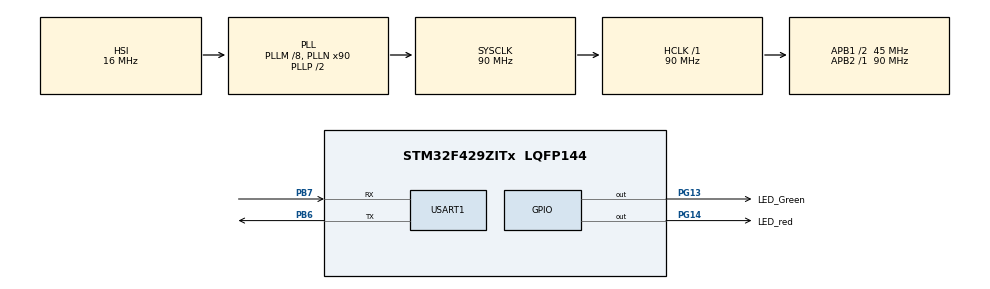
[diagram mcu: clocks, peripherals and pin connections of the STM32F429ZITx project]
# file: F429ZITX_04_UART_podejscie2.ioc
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Mcu.Family=STM32F4
Mcu.Name=STM32F429ZITx
Mcu.Package=LQFP144
NVIC.PriorityGroup=NVIC_PRIORITYGROUP_4
NVIC.TIM1_TRG_COM_TIM11_IRQn=true\:0\:0\:false\:false\:true\:true
NVIC.TIM1_UP_TIM10_IRQn=true\:0\:0\:false\:false\:true\:true
NVIC.USART1_IRQn=true\:0\:0\:false\:false\:true\:true
PB6.Mode=Asynchronous
PB6.Signal=USART1_TX
PB7.Mode=Asynchronous
PB7.Signal=USART1_RX
PG13.GPIO_Label=LED_Green
PG13.Signal=GPIO_Output
PG14.GPIO_Label=LED_red
PG14.Signal=GPIO_Output
PH0/OSC_IN.Mode=HSE-External-Oscillator
PH0/OSC_IN.Signal=RCC_OSC_IN
PH1/OSC_OUT.Mode=HSE-External-Oscillator
PH1/OSC_OUT.Signal=RCC_OSC_OUT
ProjectManager.HeapSize=0x200
ProjectManager.StackSize=0x400
ProjectManager.TargetToolchain=TrueSTUDIO
RCC.48MHZClocksFreq_Value=45000000
RCC.AHBFreq_Value=90000000
RCC.APB1CLKDivider=RCC_HCLK_DIV2
RCC.APB1Freq_Value=45000000
RCC.APB1TimFreq_Value=90000000
RCC.APB2Freq_Value=90000000
RCC.APB2TimFreq_Value=90000000
RCC.CortexFreq_Value=90000000
RCC.HCLKFreq_Value=90000000
RCC.HSE_VALUE=8000000
RCC.HSI_VALUE=16000000
RCC.LSE_VALUE=32768
RCC.PLLM=8
RCC.PLLN=90
RCC.SYSCLKFreq_VALUE=90000000
RCC.SYSCLKSource=RCC_SYSCLKSOURCE_PLLCLK
RCC.VCOOutputFreq_Value=180000000
TIM10.Period=8999
TIM10.Prescaler=9999
TIM11.Period=2249
TIM11.Prescaler=9999
USART1.VirtualMode=VM_ASYNC
VP_TIM10_VS_ClockSourceINT.Mode=Enable_Timer
VP_TIM11_VS_ClockSourceINT.Mode=Enable_Timer
board=F429ZITX_04_UART_podejscie2

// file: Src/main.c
/**
  ******************************************************************************
  * @file           : main.c
  * @brief          : Main program body
  ******************************************************************************
  ** This notice applies to any and all portions of this file
  * that are not between comment pairs USER CODE BEGIN and
  * USER CODE END. Other portions of this file, whether
  * inserted by the user or by software development tools
  * are owned by their respective copyright owners.
  *
  * COPYRIGHT(c) 2018 STMicroelectronics
  *
  * Redistribution and use in source and binary forms, with or without modification,
  * are permitted provided that the following conditions are met:
  *   1. Redistributions of source code must retain the above copyright notice,
  *      this list of conditions and the following disclaimer.
  *   2. Redistributions in binary form must reproduce the above copyright notice,
  *      this list of conditions and the following disclaimer in the documentation
  *      and/or other materials provided with the distribution.
  *   3. Neither the name of STMicroelectronics nor the names of its contributors
  *      may be used to endorse or promote products derived from this software
  *      without specific prior written permission.
  *
  * THIS SOFTWARE IS PROVIDED BY THE COPYRIGHT HOLDERS AND CONTRIBUTORS "AS IS"
  * AND ANY EXPRESS OR IMPLIED WARRANTIES, INCLUDING, BUT NOT LIMITED TO, THE
  * IMPLIED WARRANTIES OF MERCHANTABILITY AND FITNESS FOR A PARTICULAR PURPOSE ARE
  * DISCLAIMED. IN NO EVENT SHALL THE COPYRIGHT HOLDER OR CONTRIBUTORS BE LIABLE
  * FOR ANY DIRECT, INDIRECT, INCIDENTAL, SPECIAL, EXEMPLARY, OR CONSEQUENTIAL
  * DAMAGES (INCLUDING, BUT NOT LIMITED TO, PROCUREMENT OF SUBSTITUTE GOODS OR
  * SERVICES; LOSS OF USE, DATA, OR PROFITS; OR BUSINESS INTERRUPTION) HOWEVER
  * CAUSED AND ON ANY THEORY OF LIABILITY, WHETHER IN CONTRACT, STRICT LIABILITY,
  * OR TORT (INCLUDING NEGLIGENCE OR OTHERWISE) ARISING IN ANY WAY OUT OF THE USE
  * OF THIS SOFTWARE, EVEN IF ADVISED OF THE POSSIBILITY OF SUCH DAMAGE.
  *
  ******************************************************************************
  */
#include "main.h"
#include "stm32f4xx_hal.h"

TIM_HandleTypeDef htim10;
TIM_HandleTypeDef htim11;

UART_HandleTypeDef huart1;

/* USER CODE BEGIN PV */
/* Private variables ---------------------------------------------------------*/
uint8_t Received;
/* USER CODE END PV */

void SystemClock_Config(void);
static void MX_GPIO_Init(void);
static void MX_TIM10_Init(void);
static void MX_TIM11_Init(void);
static void MX_USART1_UART_Init(void);

/* USER CODE BEGIN PFP */
/* Private function prototypes -----------------------------------------------*/
void HAL_TIM_PeriodElapsedCallback(TIM_HandleTypeDef *htim) {

 static uint16_t cnt = 0; // Licznik wyslanych wiadomosci
 uint8_t data[50];// Tablica przechowujaca wysylana wiadomosc.
 uint16_t size = 0; // Rozmiar wysylanej wiadomosci ++cnt; // Zwiekszenie licznika wyslanych wiadomosci.

 ++cnt; // Zwiekszenie licznika wyslanych wiadomosci.
 size = sprintf(data, "Liczba wyslanych wiadomosci: %d.\n\r", cnt); // Stworzenie wiadomosci do wyslania oraz przypisanie ilosci wysylanych znakow do zmiennej size.
 HAL_UART_Transmit_IT(&huart1, data, size); // Rozpoczecie nadawania danych z wykorzystaniem przerwan
 HAL_GPIO_TogglePin(LED_Green_GPIO_Port, LED_Green_Pin); // Zmiana stanu pinu na diodzie LED
}

void HAL_UART_RxCpltCallback(UART_HandleTypeDef *huart) {

 uint8_t Data[50]; // Tablica przechowujaca wysylana wiadomosc.
 uint16_t size = 0; // Rozmiar wysylanej wiadomosci

 // Odebrany znak zostaje przekonwertowany na liczbe calkowita i sprawdzony
 // instrukcja warunkowa
 switch (atoi(&Received)) {

 case 0: // Jezeli odebrany zostanie znak 0
 size = sprintf(Data, "STOP\n\r");
 HAL_GPIO_WritePin(LED_Green_GPIO_Port, LED_Green_Pin, GPIO_PIN_RESET);
 break;

 case 1: // Jezeli odebrany zostanie znak 1
 size = sprintf(Data, "START\n\r");
 HAL_GPIO_WritePin(LED_Green_GPIO_Port, LED_Green_Pin, GPIO_PIN_SET);
 break;

 default: // Jezeli odebrano nieobslugiwany znak
 size = sprintf(Data, "Odebrano nieznany znak: %c\n\r", Received);
 break;
 }

 HAL_UART_Transmit_IT(&huart1, Data, size); // Rozpoczecie nadawania danych z wykorzystaniem przerwan
 HAL_UART_Receive_IT(&huart1, &Received, 1); // Ponowne w³¹czenie nas³uchiwania
}

/* USER CODE END PFP */

int main(void)
{

  /* MCU Configuration----------------------------------------------------------*/

  /* Reset of all peripherals, Initializes the Flash interface and the Systick. */
  HAL_Init();

  /* Configure the system clock */
  SystemClock_Config();

  /* Initialize all configured peripherals */
  MX_GPIO_Init();
  MX_TIM10_Init();
  MX_TIM11_Init();
  MX_USART1_UART_Init();
  /* USER CODE BEGIN 2 */
  HAL_TIM_Base_Start_IT(&htim11);
  HAL_UART_Receive_IT(&huart1, &Received, 1);
  /* USER CODE END 2 */

  /* Infinite loop */
  while (1)
  {

  }

}

void SystemClock_Config(void)
{

  RCC_OscInitTypeDef RCC_OscInitStruct;
  RCC_ClkInitTypeDef RCC_ClkInitStruct;

    /**Configure the main internal regulator output voltage
    */
  __HAL_RCC_PWR_CLK_ENABLE();

  __HAL_PWR_VOLTAGESCALING_CONFIG(PWR_REGULATOR_VOLTAGE_SCALE3);

    /**Initializes the CPU, AHB and APB busses clocks
    */
  RCC_OscInitStruct.OscillatorType = RCC_OSCILLATORTYPE_HSI;
  RCC_OscInitStruct.HSIState = RCC_HSI_ON;
  RCC_OscInitStruct.HSICalibrationValue = 16;
  RCC_OscInitStruct.PLL.PLLState = RCC_PLL_ON;
  RCC_OscInitStruct.PLL.PLLSource = RCC_PLLSOURCE_HSI;
  RCC_OscInitStruct.PLL.PLLM = 8;
  RCC_OscInitStruct.PLL.PLLN = 90;
  RCC_OscInitStruct.PLL.PLLP = RCC_PLLP_DIV2;
  RCC_OscInitStruct.PLL.PLLQ = 4;
  if (HAL_RCC_OscConfig(&RCC_OscInitStruct) != HAL_OK)
  {
    _Error_Handler(__FILE__, __LINE__);
  }

    /**Activate the Over-Drive mode
    */
  if (HAL_PWREx_EnableOverDrive() != HAL_OK)
  {
    _Error_Handler(__FILE__, __LINE__);
  }

    /**Initializes the CPU, AHB and APB busses clocks
    */
  RCC_ClkInitStruct.ClockType = RCC_CLOCKTYPE_HCLK|RCC_CLOCKTYPE_SYSCLK
                              |RCC_CLOCKTYPE_PCLK1|RCC_CLOCKTYPE_PCLK2;
  RCC_ClkInitStruct.SYSCLKSource = RCC_SYSCLKSOURCE_PLLCLK;
  RCC_ClkInitStruct.AHBCLKDivider = RCC_SYSCLK_DIV1;
  RCC_ClkInitStruct.APB1CLKDivider = RCC_HCLK_DIV2;
  RCC_ClkInitStruct.APB2CLKDivider = RCC_HCLK_DIV1;

  if (HAL_RCC_ClockConfig(&RCC_ClkInitStruct, FLASH_LATENCY_2) != HAL_OK)
  {
    _Error_Handler(__FILE__, __LINE__);
  }

    /**Configure the Systick interrupt time
    */
  HAL_SYSTICK_Config(HAL_RCC_GetHCLKFreq()/1000);

    /**Configure the Systick
    */
  HAL_SYSTICK_CLKSourceConfig(SYSTICK_CLKSOURCE_HCLK);

  /* SysTick_IRQn interrupt configuration */
  HAL_NVIC_SetPriority(SysTick_IRQn, 0, 0);
}

/* TIM10 init function */
static void MX_TIM10_Init(void)
{

  htim10.Instance = TIM10;
  htim10.Init.Prescaler = 9999;
  htim10.Init.CounterMode = TIM_COUNTERMODE_UP;
  htim10.Init.Period = 8999;
  htim10.Init.ClockDivision = TIM_CLOCKDIVISION_DIV1;
  if (HAL_TIM_Base_Init(&htim10) != HAL_OK)
  {
    _Error_Handler(__FILE__, __LINE__);
  }

}

/* TIM11 init function */
static void MX_TIM11_Init(void)
{

  htim11.Instance = TIM11;
  htim11.Init.Prescaler = 9999;
  htim11.Init.CounterMode = TIM_COUNTERMODE_UP;
  htim11.Init.Period = 2249;
  htim11.Init.ClockDivision = TIM_CLOCKDIVISION_DIV1;
  if (HAL_TIM_Base_Init(&htim11) != HAL_OK)
  {
    _Error_Handler(__FILE__, __LINE__);
  }

}

/* USART1 init function */
static void MX_USART1_UART_Init(void)
{

  huart1.Instance = USART1;
  huart1.Init.BaudRate = 115200;
  huart1.Init.WordLength = UART_WORDLENGTH_8B;
  huart1.Init.StopBits = UART_STOPBITS_1;
  huart1.Init.Parity = UART_PARITY_NONE;
  huart1.Init.Mode = UART_MODE_TX_RX;
  huart1.Init.HwFlowCtl = UART_HWCONTROL_NONE;
  huart1.Init.OverSampling = UART_OVERSAMPLING_16;
  if (HAL_UART_Init(&huart1) != HAL_OK)
  {
    _Error_Handler(__FILE__, __LINE__);
  }

}

/** Configure pins as
        * Analog
        * Input
        * Output
        * EVENT_OUT
        * EXTI
*/
static void MX_GPIO_Init(void)
{

  GPIO_InitTypeDef GPIO_InitStruct;

  /* GPIO Ports Clock Enable */
  __HAL_RCC_GPIOH_CLK_ENABLE();
  __HAL_RCC_GPIOG_CLK_ENABLE();
  __HAL_RCC_GPIOB_CLK_ENABLE();

  /*Configure GPIO pin Output Level */
  HAL_GPIO_WritePin(GPIOG, LED_Green_Pin|LED_red_Pin, GPIO_PIN_RESET);

  /*Configure GPIO pins : LED_Green_Pin LED_red_Pin */
  GPIO_InitStruct.Pin = LED_Green_Pin|LED_red_Pin;
  GPIO_InitStruct.Mode = GPIO_MODE_OUTPUT_PP;
  GPIO_InitStruct.Pull = GPIO_NOPULL;
  GPIO_InitStruct.Speed = GPIO_SPEED_FREQ_LOW;
  HAL_GPIO_Init(GPIOG, &GPIO_InitStruct);

}

void _Error_Handler(char *file, int line)
{
  while(1)
  {
  }
}

/************************ (C) COPYRIGHT STMicroelectronics *****END OF FILE****/
